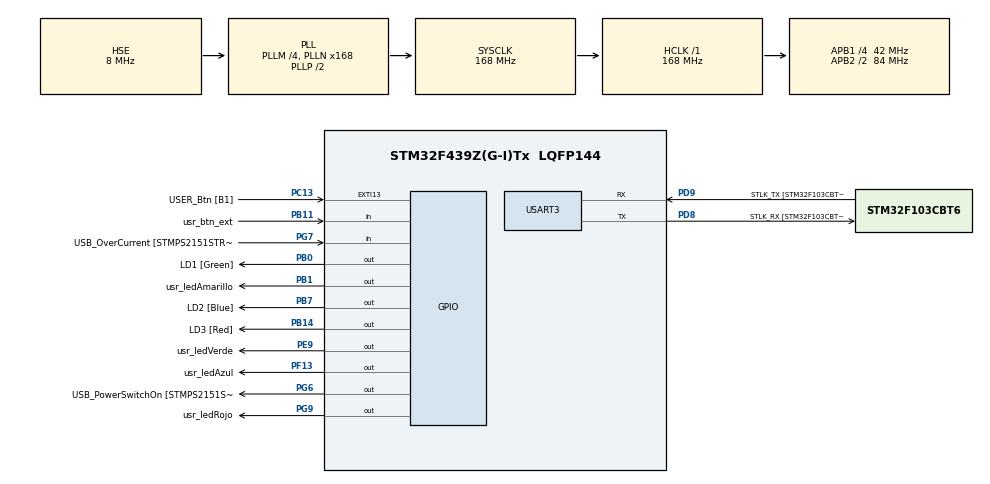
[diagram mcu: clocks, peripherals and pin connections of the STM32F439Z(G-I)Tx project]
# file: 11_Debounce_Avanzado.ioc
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Mcu.Family=STM32F4
Mcu.Name=STM32F439Z(G-I)Tx
Mcu.Package=LQFP144
NVIC.PriorityGroup=NVIC_PRIORITYGROUP_4
PA13.GPIO_Label=TMS
PA13.Mode=Serial_Wire
PA13.Signal=SYS_JTMS-SWDIO
PA14.GPIO_Label=TCK
PA14.Mode=Serial_Wire
PA14.Signal=SYS_JTCK-SWCLK
PB0.GPIO_Label=LD1 [Green]
PB0.Signal=GPIO_Output
PB1.GPIO_Label=usr_ledAmarillo
PB1.Signal=GPIO_Output
PB11.GPIO_Label=usr_btn_ext
PB11.GPIO_PuPd=GPIO_PULLUP
PB11.Signal=GPIO_Input
PB14.GPIO_Label=LD3 [Red]
PB14.Signal=GPIO_Output
PB7.GPIO_Label=LD2 [Blue]
PB7.Signal=GPIO_Output
PC13.GPIO_Label=USER_Btn [B1]
PC13.Signal=GPXTI13
PC14/OSC32_IN.Mode=LSE-External-Oscillator
PC14/OSC32_IN.Signal=RCC_OSC32_IN
PC15/OSC32_OUT.Mode=LSE-External-Oscillator
PC15/OSC32_OUT.Signal=RCC_OSC32_OUT
PD8.GPIO_Label=STLK_RX [STM32F103CBT6_PA3]
PD8.Mode=Asynchronous
PD8.Signal=USART3_TX
PD9.GPIO_Label=STLK_TX [STM32F103CBT6_PA2]
PD9.Mode=Asynchronous
PD9.Signal=USART3_RX
PE9.GPIO_Label=usr_ledVerde
PE9.Signal=GPIO_Output
PF13.GPIO_Label=usr_ledAzul
PF13.Signal=GPIO_Output
PG6.GPIO_Label=USB_PowerSwitchOn [STMPS2151STR_EN]
PG6.Signal=GPIO_Output
PG7.GPIO_Label=USB_OverCurrent [STMPS2151STR_FAULT]
PG7.Signal=GPIO_Input
PG9.GPIO_Label=usr_ledRojo
PG9.Signal=GPIO_Output
PH0/OSC_IN.GPIO_Label=MCO [STM32F103CBT6_PA8]
PH0/OSC_IN.Mode=HSE-External-Oscillator
PH0/OSC_IN.Signal=RCC_OSC_IN
PH1/OSC_OUT.Mode=HSE-External-Oscillator
PH1/OSC_OUT.Signal=RCC_OSC_OUT
ProjectManager.HeapSize=0x200
ProjectManager.StackSize=0x400
ProjectManager.TargetToolchain=STM32CubeIDE
RCC.48MHZClocksFreq_Value=48000000
RCC.AHBFreq_Value=168000000
RCC.APB1CLKDivider=RCC_HCLK_DIV4
RCC.APB1Freq_Value=42000000
RCC.APB1TimFreq_Value=84000000
RCC.APB2CLKDivider=RCC_HCLK_DIV2
RCC.APB2Freq_Value=84000000
RCC.APB2TimCLKDivider=2
RCC.APB2TimFreq_Value=168000000
RCC.CortexFreq_Value=168000000
RCC.HCLKFreq_Value=168000000
RCC.HSE_VALUE=8000000
RCC.HSI_VALUE=16000000
RCC.PLLM=4
RCC.PLLMUL=RCC_PLL_MUL9
RCC.PLLN=168
RCC.PLLQ=7
RCC.PLLSourceVirtual=RCC_PLLSOURCE_HSE
RCC.PRESCALERUSB=RCC_USBCLKSOURCE_PLL_DIV1_5
RCC.SYSCLKFreq_VALUE=168000000
RCC.SYSCLKSource=RCC_SYSCLKSOURCE_PLLCLK
RCC.SYSCLKSourceVirtual=RCC_SYSCLKSOURCE_PLLCLK
RCC.USBFreq_Value=48000000
RCC.VCOOutputFreq_Value=336000000
USART3.VirtualMode=VM_ASYNC
board=NUCLEO-F439ZI

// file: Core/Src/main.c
/* USER CODE BEGIN Header */
/**
  ******************************************************************************
  * @file           : main.c
  * @brief          : Main program body
  ******************************************************************************
  * @attention
  *
  * Copyright (c) 2026 STMicroelectronics.
  * All rights reserved.
  *
  * This software is licensed under terms that can be found in the LICENSE file
  * in the root directory of this software component.
  * If no LICENSE file comes with this software, it is provided AS-IS.
  *
  ******************************************************************************
  */
/* USER CODE END Header */
#include "main.h"

/* USER CODE BEGIN Includes */
#include "API_debounce.h" // Este ya incluye a API_delay.h internamente
#include "API_LED.h"      // Tu driver de abstracción de LEDs
#include <string.h>
/* USER CODE END Includes */

/* USER CODE BEGIN PD */
//Usamos etiquetas para evitar hardcodear
#define delay1 250
#define delay2 1000
/* USER CODE END PD */

UART_HandleTypeDef huart3;

/* USER CODE BEGIN PV */
//-----------Definicion de Instancias--------------

// Definimos los objetos LED (Abstracción Genérica)
led_t ledRojo = {GPIOG, GPIO_PIN_9, false};
led_t ledAmarillo = {GPIOB, GPIO_PIN_1};
led_t ledVerde  = {GPIOE, GPIO_PIN_9,  false};
led_t ledAzul  = {GPIOF, GPIO_PIN_13, false};

// Definimos el botón en PB11 (Active Low / Inverted = true)
button_t botonExterno = {GPIOB, GPIO_PIN_11, true, false};

// Definimos los objetos de retardo (No bloqueantes)
delay_t delayLED1, delayLED2;
/* USER CODE END PV */

void SystemClock_Config(void);
static void MX_GPIO_Init(void);
static void MX_USART3_UART_Init(void);
/* USER CODE BEGIN PFP */

void Debug_Log(const char *msg);

/* USER CODE END PFP */

/* USER CODE BEGIN 0 */

/**
 * @brief Envía un mensaje por UART3 de forma simplificada.
 * @param msg Cadena de texto a transmitir.
 */
void Debug_Log(const char *msg) {
    HAL_UART_Transmit(&huart3, (uint8_t*)msg, strlen(msg), 100);
}

/* USER CODE END 0 */

int main(void)
{

  /* MCU Configuration--------------------------------------------------------*/

  /* Reset of all peripherals, Initializes the Flash interface and the Systick. */
  HAL_Init();

  /* Configure the system clock */
  SystemClock_Config();

  /* Initialize all configured peripherals */
  MX_GPIO_Init();
  MX_USART3_UART_Init();
  /* USER CODE BEGIN 2 */

  /* Inicialización de Drivers */
      debounceFSM_Init();
      delayInit(&delayLED1, delay1);  // LED Verde cada 250ms
      delayInit(&delayLED2, delay2); // LED Azul cada 1000ms

      // Mensajes de inicialización del sistema
        Debug_Log("\r\n==================================\r\n");
        Debug_Log("SISTEMA INICIALIZADO\r\n");
        Debug_Log("Proyecto: Debounce Avanzado\r\n");
        Debug_Log("Placa: Nucleo-F439ZI\r\n");
        Debug_Log("SISTEMA INICIALIZADO - NIVEL BASICO FINALIZADO\r\n");
        Debug_Log("==================================\r\n");

  /* USER CODE END 2 */

  /* Infinite loop */
  while (1)
  {

    /* USER CODE BEGIN 3 */

	  /* 1. Tarea de Actualización del Debounce */
	          debounceFSM_Update(&botonExterno);

	          /* 2. Tarea Reactiva (Botón) */
	          if (readKey(&botonExterno)) {
	              // Acción inmediata al detectar pulsación confirmada
	              LED_Toggle(&ledRojo);
	              Debug_Log("EVENTO: Pulsacion validada en PB11\r\n");
	          }

	          /* 3. Tareas Asíncronas (LEDs) */
	          if (delayRead(&delayLED1)) {
	              LED_Toggle(&ledVerde);
	          }

	          if (delayRead(&delayLED2)) {
	              LED_Toggle(&ledAzul);
	          }
  }
  /* USER CODE END 3 */
}

void SystemClock_Config(void)
{
  RCC_OscInitTypeDef RCC_OscInitStruct = {0};
  RCC_ClkInitTypeDef RCC_ClkInitStruct = {0};

  /** Configure the main internal regulator output voltage
  */
  __HAL_RCC_PWR_CLK_ENABLE();
  __HAL_PWR_VOLTAGESCALING_CONFIG(PWR_REGULATOR_VOLTAGE_SCALE1);

  /** Initializes the RCC Oscillators according to the specified parameters
  * in the RCC_OscInitTypeDef structure.
  */
  RCC_OscInitStruct.OscillatorType = RCC_OSCILLATORTYPE_HSE;
  RCC_OscInitStruct.HSEState = RCC_HSE_ON;
  RCC_OscInitStruct.PLL.PLLState = RCC_PLL_ON;
  RCC_OscInitStruct.PLL.PLLSource = RCC_PLLSOURCE_HSE;
  RCC_OscInitStruct.PLL.PLLM = 4;
  RCC_OscInitStruct.PLL.PLLN = 168;
  RCC_OscInitStruct.PLL.PLLP = RCC_PLLP_DIV2;
  RCC_OscInitStruct.PLL.PLLQ = 7;
  if (HAL_RCC_OscConfig(&RCC_OscInitStruct) != HAL_OK)
  {
    Error_Handler();
  }

  /** Initializes the CPU, AHB and APB buses clocks
  */
  RCC_ClkInitStruct.ClockType = RCC_CLOCKTYPE_HCLK|RCC_CLOCKTYPE_SYSCLK
                              |RCC_CLOCKTYPE_PCLK1|RCC_CLOCKTYPE_PCLK2;
  RCC_ClkInitStruct.SYSCLKSource = RCC_SYSCLKSOURCE_PLLCLK;
  RCC_ClkInitStruct.AHBCLKDivider = RCC_SYSCLK_DIV1;
  RCC_ClkInitStruct.APB1CLKDivider = RCC_HCLK_DIV4;
  RCC_ClkInitStruct.APB2CLKDivider = RCC_HCLK_DIV2;

  if (HAL_RCC_ClockConfig(&RCC_ClkInitStruct, FLASH_LATENCY_5) != HAL_OK)
  {
    Error_Handler();
  }
}

static void MX_USART3_UART_Init(void)
{

  huart3.Instance = USART3;
  huart3.Init.BaudRate = 115200;
  huart3.Init.WordLength = UART_WORDLENGTH_8B;
  huart3.Init.StopBits = UART_STOPBITS_1;
  huart3.Init.Parity = UART_PARITY_NONE;
  huart3.Init.Mode = UART_MODE_TX_RX;
  huart3.Init.HwFlowCtl = UART_HWCONTROL_NONE;
  huart3.Init.OverSampling = UART_OVERSAMPLING_16;
  if (HAL_UART_Init(&huart3) != HAL_OK)
  {
    Error_Handler();
  }

}

static void MX_GPIO_Init(void)
{
  GPIO_InitTypeDef GPIO_InitStruct = {0};

  /* GPIO Ports Clock Enable */
  __HAL_RCC_GPIOC_CLK_ENABLE();
  __HAL_RCC_GPIOH_CLK_ENABLE();
  __HAL_RCC_GPIOB_CLK_ENABLE();
  __HAL_RCC_GPIOF_CLK_ENABLE();
  __HAL_RCC_GPIOE_CLK_ENABLE();
  __HAL_RCC_GPIOD_CLK_ENABLE();
  __HAL_RCC_GPIOG_CLK_ENABLE();
  __HAL_RCC_GPIOA_CLK_ENABLE();

  /*Configure GPIO pin Output Level */
  HAL_GPIO_WritePin(GPIOB, LD1_Pin|usr_ledAmarillo_Pin|LD3_Pin|LD2_Pin, GPIO_PIN_RESET);

  /*Configure GPIO pin Output Level */
  HAL_GPIO_WritePin(usr_ledAzul_GPIO_Port, usr_ledAzul_Pin, GPIO_PIN_RESET);

  /*Configure GPIO pin Output Level */
  HAL_GPIO_WritePin(usr_ledVerde_GPIO_Port, usr_ledVerde_Pin, GPIO_PIN_RESET);

  /*Configure GPIO pin Output Level */
  HAL_GPIO_WritePin(GPIOG, USB_PowerSwitchOn_Pin|usr_ledRojo_Pin, GPIO_PIN_RESET);

  /*Configure GPIO pin : USER_Btn_Pin */
  GPIO_InitStruct.Pin = USER_Btn_Pin;
  GPIO_InitStruct.Mode = GPIO_MODE_IT_RISING;
  GPIO_InitStruct.Pull = GPIO_NOPULL;
  HAL_GPIO_Init(USER_Btn_GPIO_Port, &GPIO_InitStruct);

  /*Configure GPIO pins : LD1_Pin usr_ledAmarillo_Pin LD3_Pin LD2_Pin */
  GPIO_InitStruct.Pin = LD1_Pin|usr_ledAmarillo_Pin|LD3_Pin|LD2_Pin;
  GPIO_InitStruct.Mode = GPIO_MODE_OUTPUT_PP;
  GPIO_InitStruct.Pull = GPIO_NOPULL;
  GPIO_InitStruct.Speed = GPIO_SPEED_FREQ_LOW;
  HAL_GPIO_Init(GPIOB, &GPIO_InitStruct);

  /*Configure GPIO pin : usr_ledAzul_Pin */
  GPIO_InitStruct.Pin = usr_ledAzul_Pin;
  GPIO_InitStruct.Mode = GPIO_MODE_OUTPUT_PP;
  GPIO_InitStruct.Pull = GPIO_NOPULL;
  GPIO_InitStruct.Speed = GPIO_SPEED_FREQ_LOW;
  HAL_GPIO_Init(usr_ledAzul_GPIO_Port, &GPIO_InitStruct);

  /*Configure GPIO pin : usr_ledVerde_Pin */
  GPIO_InitStruct.Pin = usr_ledVerde_Pin;
  GPIO_InitStruct.Mode = GPIO_MODE_OUTPUT_PP;
  GPIO_InitStruct.Pull = GPIO_NOPULL;
  GPIO_InitStruct.Speed = GPIO_SPEED_FREQ_LOW;
  HAL_GPIO_Init(usr_ledVerde_GPIO_Port, &GPIO_InitStruct);

  /*Configure GPIO pin : usr_btn_ext_Pin */
  GPIO_InitStruct.Pin = usr_btn_ext_Pin;
  GPIO_InitStruct.Mode = GPIO_MODE_INPUT;
  GPIO_InitStruct.Pull = GPIO_PULLUP;
  HAL_GPIO_Init(usr_btn_ext_GPIO_Port, &GPIO_InitStruct);

  /*Configure GPIO pins : USB_PowerSwitchOn_Pin usr_ledRojo_Pin */
  GPIO_InitStruct.Pin = USB_PowerSwitchOn_Pin|usr_ledRojo_Pin;
  GPIO_InitStruct.Mode = GPIO_MODE_OUTPUT_PP;
  GPIO_InitStruct.Pull = GPIO_NOPULL;
  GPIO_InitStruct.Speed = GPIO_SPEED_FREQ_LOW;
  HAL_GPIO_Init(GPIOG, &GPIO_InitStruct);

  /*Configure GPIO pin : USB_OverCurrent_Pin */
  GPIO_InitStruct.Pin = USB_OverCurrent_Pin;
  GPIO_InitStruct.Mode = GPIO_MODE_INPUT;
  GPIO_InitStruct.Pull = GPIO_NOPULL;
  HAL_GPIO_Init(USB_OverCurrent_GPIO_Port, &GPIO_InitStruct);

}

void Error_Handler(void)
{
  __disable_irq();
  while (1)
  {
  }
}
